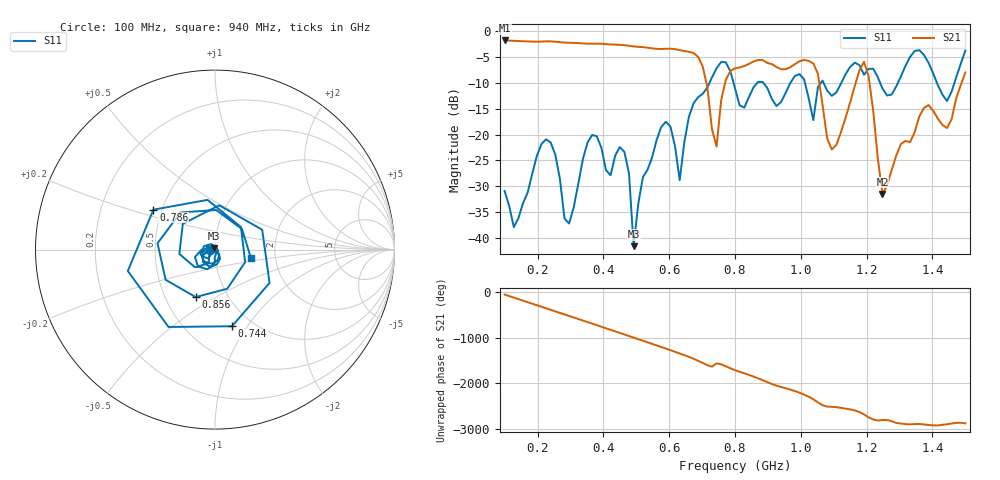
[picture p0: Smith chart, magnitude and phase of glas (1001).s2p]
! NanoVNA-App
! Date: 2025-09-25 16:03:15
! Start: 100MHz Stop: 1,5GHz Points: 101
! S-Parameter data: F S11 S21 S12 S22
# Hz S RI R 50
!  Frequency  S11_Real  S11_Imag  S21_Real  S21_Imag  S12_Real  S12_Imag  S22_Real  S22_Imag
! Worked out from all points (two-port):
!   101 points, 100 MHz to 1.5 GHz, reference 50 ohm
!   highest |S21| = -1.80 dB at 100 MHz (marker M1); lowest = -31.5 dB at 1.248 GHz (marker M2)
!   |S21| within 3 dB of the highest: start of sweep to 684.7 MHz
!   lowest |S11| = -41.6 dB at 492 MHz (marker M3), VSWR 1.02, Z = 49.5 + j0.634 ohm
!   |S11| at or under -10 dB: start of sweep to 722.5 MHz; 795.5 MHz to 867.7 MHz (72.19 MHz wide, 8.68 % of centre); 886 MHz to 968.4 MHz (82.37 MHz wide, 8.88 % of centre)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
!   S12 and S22 are empty: the file has one direction only
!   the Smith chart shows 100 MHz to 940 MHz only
!   S11 on the Smith chart (normalised r, x): 100 MHz: 0.94, -0.01; 744 MHz: 0.81, -0.85; 786 MHz: 0.45, +0.24; 856 MHz: 0.71, -0.41; 940 MHz: 1.49, -0.15
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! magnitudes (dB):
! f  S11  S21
! 100 MHz  -30.9  -1.8
! 128 MHz  -37.9  -1.9
! 226 MHz  -20.9  -2.0
! 296 MHz  -37.2  -2.2
! 338 MHz  -24.7  -2.4
! 464 MHz  -23.4  -2.7
! 492 MHz  -41.6  -3.0
! 576 MHz  -18.5  -3.5
! 632 MHz  -28.8  -3.7
! 702 MHz  -12.1  -6.9
! 744 MHz  -7.2  -22.3
! 786 MHz  -7.8  -7.7
! 800 MHz  -11.1  -7.2
! 856 MHz  -10.9  -5.9
! 940 MHz  -13.7  -7.4
! 1.038 GHz  -17.2  -6.3
! 1.094 GHz  -12.5  -22.9
! 1.192 GHz  -8.4  -5.9
! 1.248 GHz  -11.1  -31.5
! 1.276 GHz  -12.3  -26.9
! 1.444 GHz  -13.5  -18.7
! 1.5 GHz  -3.7  -8.0
